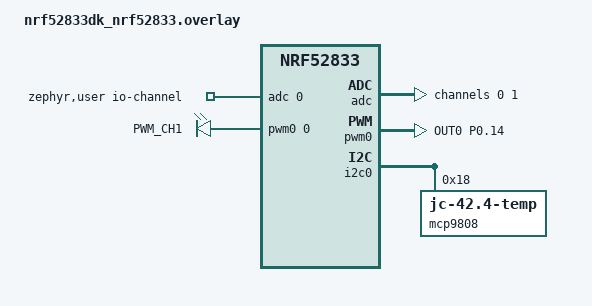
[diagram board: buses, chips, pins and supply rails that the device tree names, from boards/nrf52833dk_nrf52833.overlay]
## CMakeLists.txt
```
# SPDX-License-Identifier: Apache-2.0

cmake_minimum_required(VERSION 3.20.0)
find_package(Zephyr REQUIRED HINTS $ENV{ZEPHYR_BASE})
project(duke-bme554-ecg-temp-ble-lab)

set(NO_BUILD_TYPE_WARNING TRUE)

zephyr_include_directories(include)
# make sure to add the source code for new libraries
target_sources(app PRIVATE 
    src/main.c 
    lib/ble-lib.c
)
```

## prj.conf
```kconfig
CONFIG_LOG=y
# Choose a log backend. Common options: console (prints to UART console),
# SEGGER_RTT (requires Segger J-Link and RTT support), or printk.
# Enable the console backend which prints to the configured console device.
CONFIG_LOG_BACKEND_UART=y
CONFIG_LOG_BACKEND_RTT=y

# Optionally enable SEGGER RTT backend if using J-Link/RTT
# CONFIG_SEGGER_RTT=y

# Ensure printk support is available if using printk-based logging
CONFIG_PRINTK=y

# Default log level. LOG_ERR will be printed at level ERR and above. Set to
# INFO or DBG for more verbosity during development.
CONFIG_LOG_DEFAULT_LEVEL=3
# CONFIG_MAIN_STACK_SIZE=4096

CONFIG_SMF=y
CONFIG_EVENTS=y
CONFIG_ADC=y
CONFIG_ADC_ASYNC=y
CONFIG_PWM=y
CONFIG_SENSOR=y

CONFIG_DEBUG_OPTIMIZATIONS=y
CONFIG_DEBUG_THREAD_INFO=y

CONFIG_BT=y
CONFIG_BT_SMP=y
CONFIG_BT_PERIPHERAL=y
CONFIG_BT_DIS=y
CONFIG_BT_DIS_PNP=n
CONFIG_BT_BAS=y
CONFIG_BT_HRS=y
CONFIG_BT_DEVICE_NAME="Carson's Heart Rate Monitor"
CONFIG_BT_DEVICE_APPEARANCE=833
```

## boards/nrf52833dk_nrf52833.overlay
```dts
 / {
     zephyr,user {
         io-channels = <&adc 0>;
     };

     aliases {
         /* LED aliases */
         heartbeat = &led0;   /* LED1 (GPIO) */
         batteryled = &pwmch1;    /* LED2  controlled by PWM child*/
         ecgled = &led2;      /* LED3  */
         error = &led3;       /* LED4 */

         /* Buttons */
         idlereturn = &button0;   /* SW1 */
         tempread = &button1;  /* SW2 */
         ecgread = &button2;/* SW3 */
         reset = &button3;   /* SW4 */

         /* ADC */
         vadc = &vadc;
         vadcdiff = &vadcdiff;

         /* PWM child aliases */
         pwm1 = &pwmch1;
        
     };
 };

/* ADC channels */
&adc {
    #io-channel-cells = <1>;
    #address-cells = <1>;
    #size-cells = <0>;
/*single-ended channel for battery voltage */
    vadc: channel@0 {
        reg = <0>; /* channel number */
        zephyr,reference = "ADC_REF_INTERNAL";
        zephyr,gain = "ADC_GAIN_1_5";
        zephyr,acquisition-time = <ADC_ACQ_TIME_DEFAULT>;
        zephyr,input-positive = <NRF_SAADC_AIN0>; /* P0.02 */
        zephyr,resolution = <12>;
    };
/*differential channel for ECG signal */
    vadcdiff: channel@1 {
        reg = <1>;
        zephyr,reference = "ADC_REF_INTERNAL";
        zephyr,gain = "ADC_GAIN_1_4";
        zephyr,acquisition-time = <ADC_ACQ_TIME(ADC_ACQ_TIME_MICROSECONDS, 40)>;
        zephyr,input-positive = <NRF_SAADC_AIN1>; /*P0.03 */
        zephyr,input-negative = <NRF_SAADC_AIN2>;/*P0.04 */
        zephyr,resolution = <12>;
        zephyr,differential;
    };

    status = "okay";
};

/* pwm-leds container */
/ {
    pwm_leds {
        compatible = "pwm-leds";

        pwmch1: pwm_1 {
            /* &pwm0, channel 0, period 1ms (1,000,000 ns), inverted polarity for active-low LED */
            pwms = <&pwm0 0 1000000 PWM_POLARITY_INVERTED>;
            label = "PWM_CH1";
        };
    };
};

/* Ensure pwm0 controller is enabled and pinned */
&pwm0 {
    compatible = "nordic,nrf-pwm";
    reg = <0x4001c000 0x1000>;
    interrupts = <28 NRF_DEFAULT_IRQ_PRIORITY>;
    status = "okay";
    #pwm-cells = <3>;
    pinctrl-0 = <&pwm0_default>;
    pinctrl-1 = <&pwm0_sleep>;
    pinctrl-names = "default", "sleep";
};

/* pinctrl mappings for pwm0 outputs */
&pinctrl {
    compatible = "nordic,nrf-pinctrl";
    status = "okay";

    pwm0_default: pwm0_default {
        group1 {
            /* Map PWM_OUT0 -> P0.28, */
            psels = <NRF_PSEL(PWM_OUT0, 0, 14)>;
        };
    };

    pwm0_sleep: pwm0_sleep {
        group1 {
            psels = <NRF_PSEL(PWM_OUT0, 0, 14)>;
            low-power-enable;
        };
    };
};

/*I2C for temperature sensor */
&i2c0 {

    mcp9808@18{
        compatible = "jedec,jc-42.4-temp";
        reg = <0x18>;
        status = "okay";
    };

};
```

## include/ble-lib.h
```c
#ifndef BLE_LIB_H
#define BLE_LIB_H

#include <zephyr/kernel.h>
#include <zephyr/device.h>
#include <zephyr/logging/log.h>
#include <zephyr/bluetooth/bluetooth.h>
#include <zephyr/bluetooth/uuid.h>
#include <zephyr/bluetooth/gatt.h>
#include <zephyr/bluetooth/hci.h>
#include <zephyr/settings/settings.h>
#include <zephyr/bluetooth/services/bas.h> // Battery Service
#include <zephyr/bluetooth/services/hrs.h> // Heart Rate Service

/* UUID of the Remote Service */
// Project ID: 065 (3rd entry)
// MFG ID = 0x02DF (4th entry)
#define BT_UUID_REMOTE_SERV_VAL \
        BT_UUID_128_ENCODE(0xe9ea0000, 0xe19b, 0x0065, 0x02DF, 0xc7907585fc48)

#define BT_UUID_REMOTE_SERVICE          BT_UUID_DECLARE_128(BT_UUID_REMOTE_SERV_VAL)

enum bt_data_notifications_enabled {
    BT_DATA_NOTIFICATIONS_ENABLED,
    BT_DATA_NOTIFICATIONS_DISABLED,
};

struct bt_remote_srv_cb {
    void (*notif_changed)(enum bt_data_notifications_enabled status);
    void (*data_rx)(struct bt_conn *conn, const uint8_t *const data, uint16_t len);
};

int bluetooth_init(struct bt_conn_cb *bt_cb, struct bt_remote_srv_cb *remote_cb);
uint8_t bluetooth_get_battery_level(void);
void bluetooth_set_battery_level(int32_t level);

// helper notify functions added 
int bluetooth_notify_temperature(int32_t temperature_degC);
int bluetooth_notify_error(uint32_t);

ssize_t on_write(struct bt_conn *conn, const struct bt_gatt_attr *attr, const void *buf, uint16_t len, uint16_t offset, uint8_t flags);
ssize_t read_temperature_data_cb(struct bt_conn *conn, const struct bt_gatt_attr *attr, void *buf, uint16_t len, uint16_t offset);
ssize_t read_error_cb(struct bt_conn *conn, const struct bt_gatt_attr *attr, void *buf, uint16_t len, uint16_t offset);
void ccc_cfg_changed_cb(const struct bt_gatt_attr *attr, uint16_t value);
void on_connected(struct bt_conn *conn, uint8_t ret);
void on_disconnected(struct bt_conn *conn, uint8_t reason);
void on_data_rx(struct bt_conn *conn, const uint8_t *const data, uint16_t len);
void on_notif_changed(enum bt_data_notifications_enabled status);

extern const struct bt_gatt_attr *attr;
extern struct bt_conn *current_conn;
extern struct bt_conn_cb bluetooth_callbacks;
extern struct bt_remote_srv_cb remote_service_callbacks;
extern struct bt_uuid_128 remote_err_uuid;
extern struct bt_uuid_128 remote_serv_uuid;
extern struct bt_uuid_128 remote_temperature_data_uuid;
extern struct bt_uuid_128 remote_msg_uuid;


#endif
```
